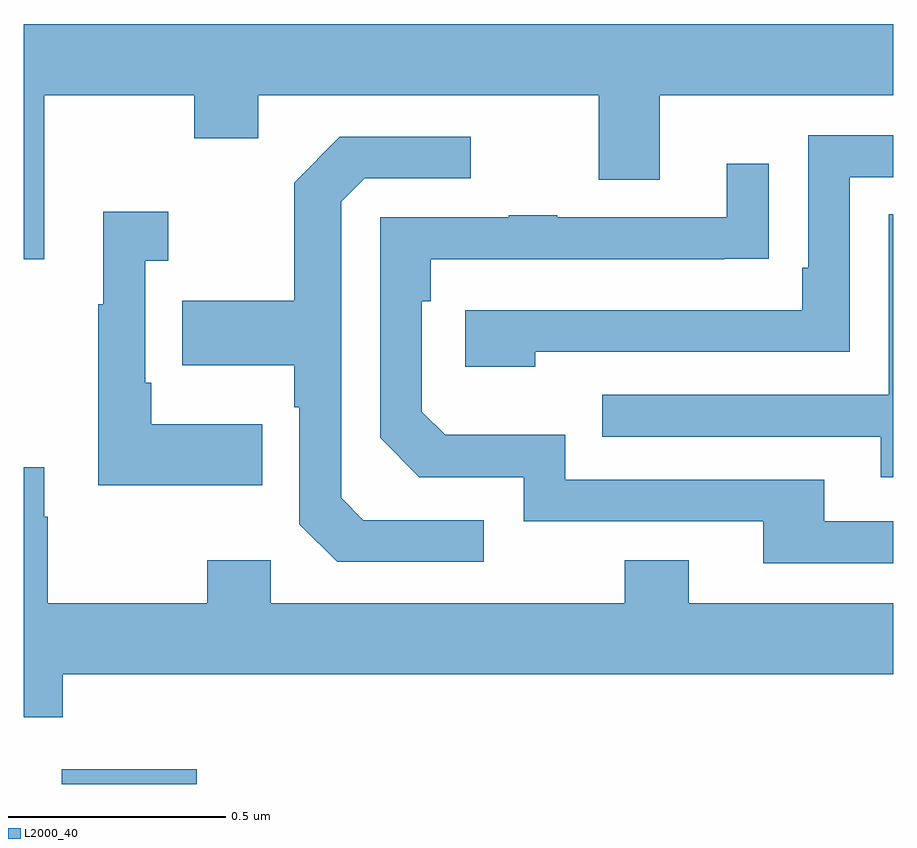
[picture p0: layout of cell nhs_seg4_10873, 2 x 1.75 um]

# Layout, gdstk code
import gdstk
lib = gdstk.Library(unit=1e-6, precision=1e-09)
def R(c, l, rs):  # rectangles x0, y0, x1, y1
    for r in rs: c.add(gdstk.rectangle(r[:2], r[2:], *l))
def P(c, l, *ps):  # polygons
    for p in ps: c.add(gdstk.Polygon(p, *l))
L2000_40 = (2000, 40)

nhs_seg4_10873 = lib.new_cell('nhs_seg4_10873')
R(nhs_seg4_10873, L2000_40, [(245.088,797.9,245.398,797.934)])
P(nhs_seg4_10873, L2000_40, [(245.047,799.484),(245.392,799.484),(245.392,799.385),(245.539,799.385),(245.539,799.484),(246.323,799.484),(246.323,799.29),(246.463,799.29),(246.463,799.484),(247,799.484),(247,799.648),(245,799.648),(245,799.107),(245.047,799.107)],
  [(246.176,798.894),(246.9,798.894),(246.9,799.296),(247,799.296),(247,799.392),(246.804,799.392),(246.804,799.087),(246.791,799.087),(246.791,798.99),(246.015,798.99),(246.015,798.86),(246.176,798.86)],
  [(246.058,798.507),(245.781,798.507),(245.73,798.558),(245.73,799.239),(245.784,799.293),(246.028,799.293),(246.028,799.389),(245.727,799.389),(245.622,799.283),(245.622,799.011),(245.365,799.011),(245.365,798.863),(245.622,798.863),(245.622,798.767),(245.634,798.767),(245.634,798.498),(245.721,798.411),(246.058,798.411)],
  [(247,798.504),(246.841,798.504),(246.841,798.6),(246.246,798.6),(246.246,798.703),(245.969,798.703),(245.916,798.756),(245.916,799.01),(245.936,799.01),(245.936,799.107),(246.611,799.107),(246.611,799.108),(246.713,799.108),(246.713,799.327),(246.617,799.327),(246.617,799.203),(246.227,799.203),(246.227,799.208),(246.115,799.208),(246.115,799.203),(245.82,799.203),(245.82,798.696),(245.91,798.606),(246.15,798.606),(246.15,798.504),(246.701,798.504),(246.701,798.408),(247,798.408)],
  [(245.549,798.727),(245.293,798.727),(245.293,798.823),(245.28,798.823),(245.28,799.103),(245.332,799.103),(245.332,799.216),(245.183,799.216),(245.183,799.003),(245.172,799.003),(245.172,798.587),(245.549,798.587)],
  [(247,799.211),(246.99,799.211),(246.99,798.795),(246.331,798.795),(246.331,798.699),(246.971,798.699),(246.971,798.605),(247,798.605)],
  [(245.09,798.152),(247,798.152),(247,798.316),(246.529,798.316),(246.529,798.415),(246.382,798.415),(246.382,798.316),(245.568,798.316),(245.568,798.415),(245.422,798.415),(245.422,798.316),(245.055,798.316),(245.055,798.515),(245.047,798.515),(245.047,798.628),(245,798.628),(245,798.053),(245.09,798.053)])

lib.write_gds('nhs_seg4_10873.gds')
